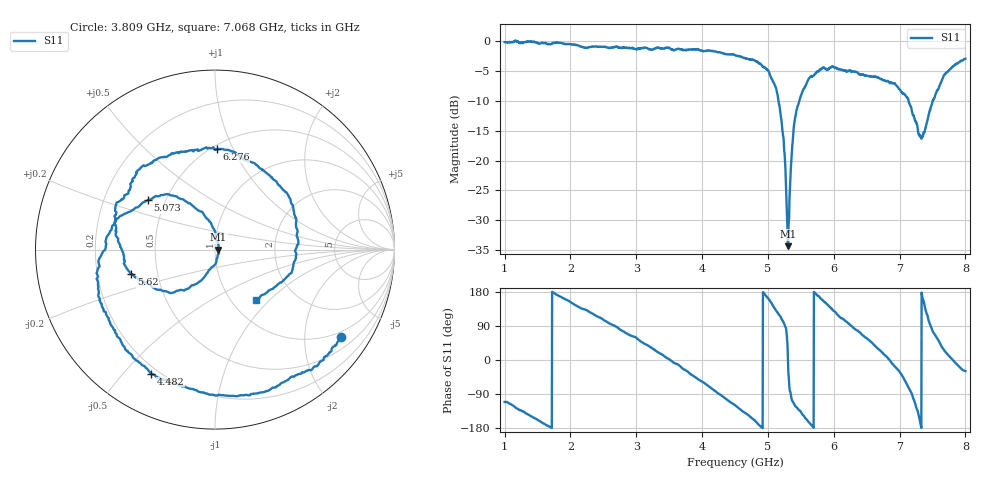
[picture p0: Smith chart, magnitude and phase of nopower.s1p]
# GHz S MA R 50
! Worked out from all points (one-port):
!   1601 points, 1 GHz to 8 GHz, reference 50 ohm
!   lowest |S11| = -34.4 dB at 5.305 GHz (marker M1), VSWR 1.04, Z = 51.9 - j0.0438 ohm
!   |S11| at or under -10 dB: 5.161 GHz to 5.476 GHz (315.2 MHz wide, 5.93 % of centre); 7.138 GHz to 7.502 GHz (363.9 MHz wide, 4.97 % of centre)
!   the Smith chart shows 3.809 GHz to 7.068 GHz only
!   S11 on the Smith chart (normalised r, x): 3.809 GHz: 0.82, -2.99; 4.482 GHz: 0.17, -0.60; 5.073 GHz: 0.40, +0.28; 5.62 GHz: 0.35, -0.12; 6.276 GHz: 0.53, +0.86; 7.068 GHz: 1.30, -0.83
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1  0.9872 -110.7
1.424375  0.9883 -150.4
1.875  0.9652 164.4
2.37375  0.9087 118.4
2.75  0.8826 81.0
3.31  0.8817 22.4
3.625  0.8644 -11.2
3.80875  0.8558 -34.8
4.145625  0.8312 -75.3
4.4825  0.7773 -117.3
4.5  0.7676 -119.0
4.828125  0.676 -164.6
5.073125  0.464 143.5
5.20875  0.2106 107.9
5.305  0.01912 -1.3
5.375  0.1416 -109.1
5.445  0.2768 -126.6
5.62  0.4858 -163.9
5.851875  0.6032 154.0
6.25  0.565 92.5
6.27625  0.5597 89.1
6.705  0.4864 25.0
7.068125  0.3622 -50.3
7.125  0.3335 -69.0
7.335  0.1533 177.8
7.566875  0.3853 58.0
7.7725  0.5882 6.4
8  0.7167 -29.1
